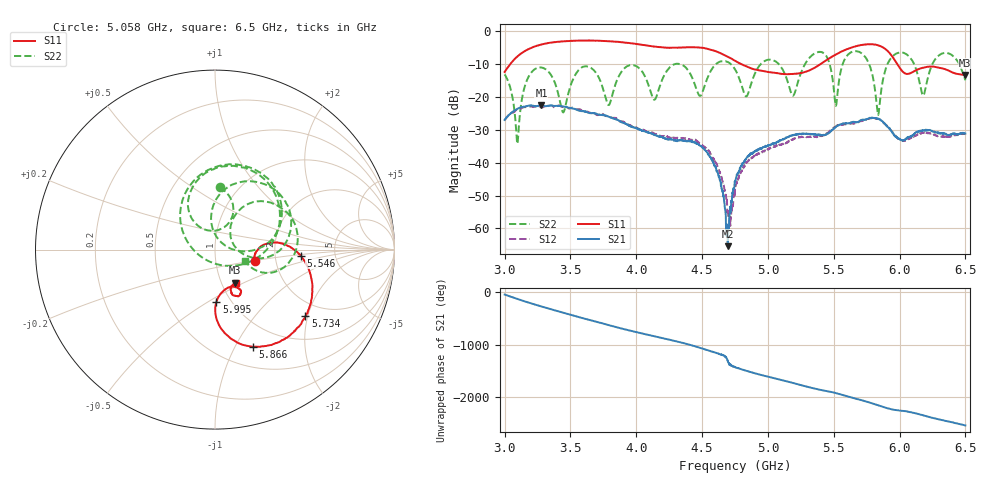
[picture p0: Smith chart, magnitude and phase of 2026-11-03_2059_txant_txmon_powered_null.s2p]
! HEWLETT PACKARD,8720ES,MY41003347,7.72, via bringup/vna_tests.py
! txant_txmon_powered_null
! measured 2026-11-03 21:00:35, 1601 points, 3000000000-6500000000 Hz, IF bandwidth 1000 Hz, source -40.00 dBm, kit CALK35MD
! board A, the TX held at its carrier null, hold_point(0, 0), before each sweep
# HZ S RI R 50
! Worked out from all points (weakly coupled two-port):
!   1601 points, 3 GHz to 6.5 GHz, reference 50 ohm
!   highest |S21| = -22.48 dB at 3.28 GHz (marker M1); lowest = -65.4 dB at 4.695 GHz (marker M2)
!   lowest |S11| = -13.3 dB at 6.498 GHz (marker M3), VSWR 1.55, Z = 58.1 - j22.4 ohm
!   |S11| at or under -10 dB: start of sweep to 3.043 GHz; 4.797 GHz to 5.399 GHz (602.1 MHz wide, 11.8 % of centre); 5.983 GHz to end of sweep
!   |S22| runs from -34.2 to -6.1 dB; largest |S21 - S12| = 0.0078
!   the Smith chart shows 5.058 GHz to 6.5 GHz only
!   S11 on the Smith chart (normalised r, x): 5.058 GHz: 1.55, -0.22; 5.546 GHz: 2.80, -0.25; 5.734 GHz: 1.58, -1.93; 5.866 GHz: 0.72, -1.18; 5.995 GHz: 0.86, -0.54; 6.5 GHz: 1.17, -0.45
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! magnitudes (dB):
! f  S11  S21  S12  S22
! 3 GHz  -12.4  -27.0  -27.0  -13.1
! 3.098 GHz  -7.6  -23.6  -23.6  -34.2
! 3.28 GHz  -4.0  -22.5  -23.2  -11.0
! 3.444 GHz  -3.1  -22.9  -23.1  -24.7
! 3.584 GHz  -2.9  -24.3  -24.0  -11.0
! 4.168 GHz  -4.8  -32.0  -31.5  -18.1
! 4.54 GHz  -5.4  -36.9  -35.7  -14.3
! 4.695 GHz  -7.8  -65.4  -54.0  -9.4
! 4.75 GHz  -9.0  -45.7  -47.9  -11.6
! 4.835 GHz  -10.7  -38.7  -39.9  -19.8
! 5.058 GHz  -12.7  -34.0  -34.8  -9.2
! 5.192 GHz  -13.0  -31.6  -32.9  -19.6
! 5.334 GHz  -11.6  -31.3  -32.2  -7.3
! 5.546 GHz  -6.4  -28.4  -28.5  -13.5
! 5.734 GHz  -4.1  -26.9  -27.2  -7.6
! 5.866 GHz  -4.7  -27.3  -27.2  -16.6
! 5.918 GHz  -6.4  -29.5  -29.3  -9.2
! 5.995 GHz  -10.8  -32.7  -32.8  -6.5
! 6.178 GHz  -11.1  -30.1  -30.8  -19.5
! 6.327 GHz  -11.3  -31.0  -32.0  -6.7
! 6.498 GHz  -13.3  -31.1  -31.1  -14.7
! 6.5 GHz  -13.3  -31.1  -31.3  -14.9
